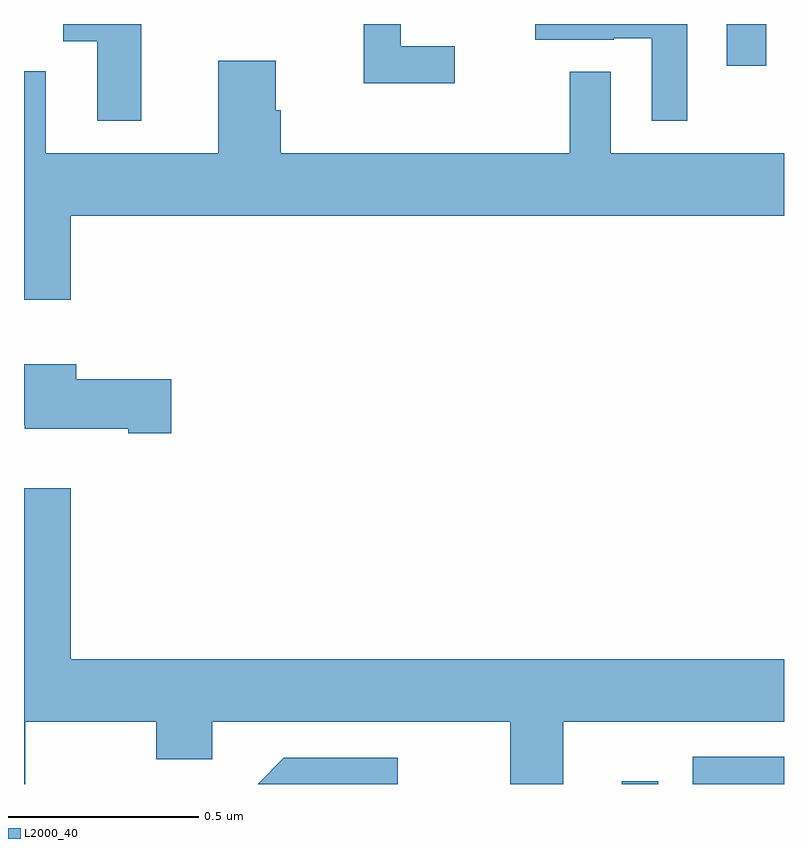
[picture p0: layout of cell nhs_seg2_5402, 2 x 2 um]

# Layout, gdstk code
import gdstk
lib = gdstk.Library(unit=1e-6, precision=1e-09)
def R(c, l, rs):  # rectangles x0, y0, x1, y1
    for r in rs: c.add(gdstk.rectangle(r[:2], r[2:], *l))
def P(c, l, *ps):  # polygons
    for p in ps: c.add(gdstk.Polygon(p, *l))
L2000_40 = (2000, 40)

nhs_seg2_5402 = lib.new_cell('nhs_seg2_5402')
R(nhs_seg2_5402, L2000_40, [(179.573,652.8,179.669,652.807), (179.76,652.8,180,652.872), (179.849,654.69,179.953,654.8)])
P(nhs_seg2_5402, L2000_40, [(178.309,654.8),(178.103,654.8),(178.103,654.754),(178.193,654.754),(178.193,654.546),(178.309,654.546)],
  [(179.745,654.8),(179.345,654.8),(179.345,654.759),(179.552,654.759),(179.552,654.762),(179.652,654.762),(179.652,654.545),(179.745,654.545)],
  [(179.134,654.742),(178.992,654.742),(178.992,654.8),(178.894,654.8),(178.894,654.644),(179.134,654.644)],
  [(178.123,654.296),(180,654.296),(180,654.46),(179.544,654.46),(179.544,654.674),(179.436,654.674),(179.436,654.46),(178.676,654.46),(178.676,654.573),(178.663,654.573),(178.663,654.703),(178.511,654.703),(178.511,654.46),(178.057,654.46),(178.057,654.676),(178,654.676),(178,654.296),(178.001,654.296),(178.001,654.075),(178.123,654.075)],
  [(178.387,653.865),(178.138,653.865),(178.138,653.905),(178,653.905),(178,653.744),(178.002,653.744),(178.002,653.735),(178.274,653.735),(178.274,653.723),(178.387,653.723)],
  [(178.003,652.964),(178.348,652.964),(178.348,652.865),(178.495,652.865),(178.495,652.964),(179.279,652.964),(179.279,652.8),(179.419,652.8),(179.419,652.964),(180,652.964),(180,653.128),(178.123,653.128),(178.123,653.578),(178.001,653.578),(178.001,653.128),(178,653.128),(178,652.8),(178.003,652.8)],
  [(178.984,652.869),(178.683,652.869),(178.615,652.8),(178.984,652.8)])

lib.write_gds('nhs_seg2_5402.gds')
